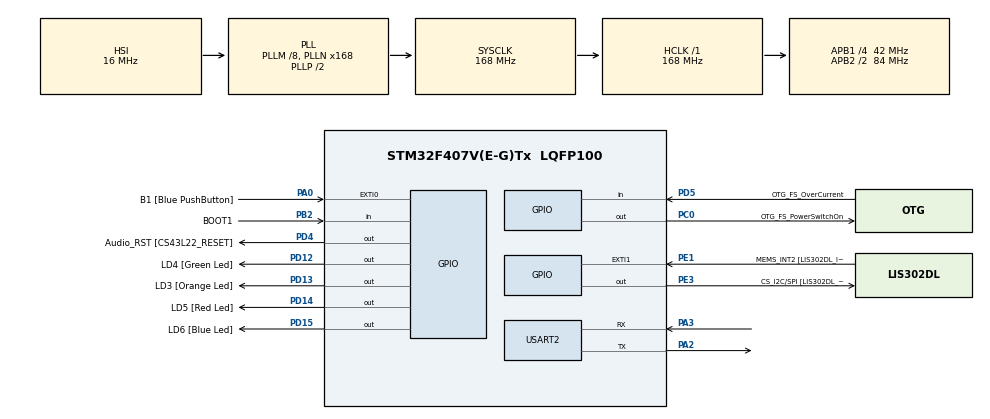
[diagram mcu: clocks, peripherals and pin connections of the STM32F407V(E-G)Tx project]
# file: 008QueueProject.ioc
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Mcu.Family=STM32F4
PA11.GPIO_Speed=GPIO_SPEED_FREQ_LOW
PC3.GPIO_Mode=GPIO_MODE_AF_PP
PD12.GPIO_Label=LD4 [Green Led]
PH0-OSC_IN.Signal=RCC_OSC_IN
VP_SYS_VS_tim6.Mode=TIM6
RCC.CortexFreq_Value=168000000
PC10.GPIO_PuPd=GPIO_NOPULL
PB10.GPIO_Speed=GPIO_SPEED_FREQ_LOW
PB6.GPIO_Mode=GPIO_MODE_AF_OD
PB10.GPIO_PuPd=GPIO_NOPULL
NVIC.TIM6_DAC_IRQn=true\:0\:0\:false\:false\:true\:false\:true
PA10.GPIO_PuPd=GPIO_NOPULL
PD15.GPIO_Speed=GPIO_SPEED_FREQ_LOW
PC10.Signal=I2S3_CK
PC12.Signal=I2S3_SD
PA14.GPIO_Label=SWCLK
PA7.GPIO_Mode=GPIO_MODE_AF_PP
PC0.GPIO_Label=OTG_FS_PowerSwitchOn
VP_RTC_VS_RTC_Activate.Mode=RTC_Enabled
PA6.GPIO_Label=SPI1_MISO [LIS302DL_SDO]
PB6.GPIO_Label=Audio_SCL [CS43L22_SCL]
PC10.GPIO_Speed=GPIO_SPEED_FREQ_LOW
PA11.GPIO_PuPd=GPIO_NOPULL
PC15-OSC32_OUT.GPIO_Label=PC15-OSC32_OUT
PC3.GPIO_Speed=GPIO_SPEED_FREQ_LOW
RCC.SYSCLKSource=RCC_SYSCLKSOURCE_PLLCLK
ProjectManager.StackSize=0x400
PA6.GPIO_Mode=GPIO_MODE_AF_PP
PD13.Signal=GPIO_Output
PD14.GPIO_Speed=GPIO_SPEED_FREQ_LOW
PA12.Signal=USB_OTG_FS_DP
RCC.HCLKFreq_Value=168000000
PD4.Signal=GPIO_Output
RCC.APB2TimFreq_Value=168000000
PB6.Signal=I2C1_SCL
PC7.Signal=I2S3_MCK
PC3.Signal=I2S2_SD
PE1.Signal=GPXTI1
RCC.AHBFreq_Value=168000000
PH0-OSC_IN.GPIO_Label=PH0-OSC_IN
PA9.GPIO_Mode=GPIO_MODE_INPUT
RCC.HSE_VALUE=8000000
PA4.GPIO_PuPd=GPIO_NOPULL
PB2.Signal=GPIO_Input
PA4.GPIO_Speed=GPIO_SPEED_FREQ_LOW
PA6.GPIO_PuPd=GPIO_NOPULL
PA5.GPIO_PuPd=GPIO_NOPULL
PA10.GPIO_Label=OTG_FS_ID
PC7.GPIO_Mode=GPIO_MODE_AF_PP
PD5.GPIO_Mode=GPIO_MODE_INPUT
PD14.GPIO_PuPd=GPIO_NOPULL
PB2.GPIO_PuPd=GPIO_NOPULL
PD13.GPIO_Label=LD3 [Orange Led]
Mcu.Package=LQFP100
PB9.Signal=I2C1_SDA
PA6.Signal=SPI1_MISO
NVIC.TimeBase=TIM6_DAC_IRQn
USART2.VirtualMode=VM_ASYNC
PD12.Signal=GPIO_Output
PD5.GPIO_Label=OTG_FS_OverCurrent
PD15.GPIO_PuPd=GPIO_NOPULL
NVIC.TimeBaseIP=TIM6
PA10.Signal=USB_OTG_FS_ID
PB9.GPIO_PuPd=GPIO_NOPULL
PA10.GPIO_Speed=GPIO_SPEED_FREQ_LOW
RCC.APB2CLKDivider=RCC_HCLK_DIV2
PB9.GPIO_Speed=GPIO_SPEED_FREQ_LOW
RCC.APB1TimFreq_Value=84000000
PC14-OSC32_IN.GPIO_Label=PC14-OSC32_IN
PC12.GPIO_PuPd=GPIO_NOPULL
PA6.GPIO_Speed=GPIO_SPEED_FREQ_LOW
PC0.GPIO_PuPd=GPIO_NOPULL
PA12.GPIO_PuPd=GPIO_NOPULL
PA4.GPIO_Label=I2S3_WS [CS43L22_LRCK]
PD15.Signal=GPIO_Output
PC0.PinState=GPIO_PIN_SET
PA12.GPIO_Speed=GPIO_SPEED_FREQ_LOW
PA3.Signal=USART2_RX
PB3.GPIO_Label=SWO
PD12.GPIO_Speed=GPIO_SPEED_FREQ_LOW
PD15.GPIO_Label=LD6 [Blue Led]
PB9.GPIO_Label=Audio_SDA [CS43L22_SDA]
PC10.GPIO_Label=I2S3_SCK [CS43L22_SCLK]
PA9.GPIO_Label=VBUS_FS
PB6.GPIO_PuPd=GPIO_NOPULL
PA11.GPIO_Label=OTG_FS_DM
PE1.GPIO_PuPd=GPIO_NOPULL
PD5.Signal=GPIO_Input
PC0.Signal=GPIO_Output
PE1.GPIO_ModeDefaultEXTI=GPIO_MODE_EVT_RISING
RCC.APB1CLKDivider=RCC_HCLK_DIV4
PC14-OSC32_IN.Signal=RCC_OSC32_IN
PA9.GPIO_PuPd=GPIO_NOPULL
NVIC.USART2_IRQn=true\:6\:0\:true\:false\:true\:true\:true
PA12.GPIO_Label=OTG_FS_DP
PA0-WKUP.GPIO_Label=B1 [Blue PushButton]
PA0-WKUP.Signal=GPXTI0
PA10.GPIO_Mode=GPIO_MODE_AF_PP
PA3.Mode=Asynchronous
PA13.Signal=SYS_JTMS-SWDIO
PC10.GPIO_Mode=GPIO_MODE_AF_PP
PD4.GPIO_PuPd=GPIO_NOPULL
PC0.GPIO_Speed=GPIO_SPEED_FREQ_LOW
PB10.GPIO_Mode=GPIO_MODE_AF_PP
ProjectManager.TargetToolchain=STM32CubeIDE
PB10.GPIO_Label=CLK_IN [MP45DT02_CLK]
PA9.Signal=USB_OTG_FS_VBUS
PC7.GPIO_PuPd=GPIO_NOPULL
RCC.LSE_VALUE=32768
PC15-OSC32_OUT.Signal=RCC_OSC32_OUT
PA7.GPIO_PuPd=GPIO_NOPULL
PB10.Signal=I2S2_CK
PA5.Signal=SPI1_SCK
board=STM32F407G-DISC1
PD13.GPIO_Speed=GPIO_SPEED_FREQ_LOW
PC7.GPIO_Speed=GPIO_SPEED_FREQ_LOW
RCC.VCOOutputFreq_Value=336000000
PE1.GPIO_Label=MEMS_INT2 [LIS302DL_INT2]
PA7.GPIO_Speed=GPIO_SPEED_FREQ_LOW
PB9.GPIO_Mode=GPIO_MODE_AF_OD
PA12.GPIO_Mode=GPIO_MODE_AF_PP
PA4.GPIO_Mode=GPIO_MODE_AF_PP
RCC.APB2Freq_Value=84000000
PB2.GPIO_Mode=GPIO_MODE_INPUT
PD4.GPIO_Label=Audio_RST [CS43L22_RESET]
PD4.GPIO_Speed=GPIO_SPEED_FREQ_LOW
PE3.GPIO_PuPd=GPIO_NOPULL
PH1-OSC_OUT.Signal=RCC_OSC_OUT
PD13.GPIO_PuPd=GPIO_NOPULL
PD5.GPIO_PuPd=GPIO_NOPULL
PD14.GPIO_Label=LD5 [Red Led]
PH1-OSC_OUT.GPIO_Label=PH1-OSC_OUT
Mcu.Name=STM32F407V(E-G)Tx
PA2.Signal=USART2_TX
PA13.GPIO_Label=SWDIO
PC7.GPIO_Label=I2S3_MCK [CS43L22_MCLK]
PD14.Signal=GPIO_Output
RCC.48MHZClocksFreq_Value=48000000
PB3.Signal=SYS_JTDO-SWO
PA4.Signal=I2S3_WS
RCC.SYSCLKFreq_VALUE=168000000
PC12.GPIO_Mode=GPIO_MODE_AF_PP
PA7.GPIO_Label=SPI1_MOSI [LIS302DL_SDA/SDI/SDO]
PA5.GPIO_Label=SPI1_SCK [LIS302DL_SCL/SPC]
PE3.GPIO_Speed=GPIO_SPEED_FREQ_LOW
PC12.GPIO_Label=I2S3_SD [CS43L22_SDIN]
PA11.Signal=USB_OTG_FS_DM
PA14.Signal=SYS_JTCK-SWCLK
PB2.GPIO_Label=BOOT1
RTC.HourFormat=RTC_HOURFORMAT_12
ProjectManager.HeapSize=0x200
RCC.HSI_VALUE=16000000
PA5.GPIO_Speed=GPIO_SPEED_FREQ_LOW
RCC.PLLQ=7
NVIC.PriorityGroup=NVIC_PRIORITYGROUP_4
RCC.PLLM=8
RCC.PLLN=168
PE3.Signal=GPIO_Output
PA2.Mode=Asynchronous
PE3.GPIO_Label=CS_I2C/SPI [LIS302DL_CS_I2C/SPI]
PC3.GPIO_Label=PDM_OUT [MP45DT02_DOUT]
PA11.GPIO_Mode=GPIO_MODE_AF_PP
PB6.GPIO_Speed=GPIO_SPEED_FREQ_LOW
RCC.APB1Freq_Value=42000000
PA5.GPIO_Mode=GPIO_MODE_AF_PP
PC12.GPIO_Speed=GPIO_SPEED_FREQ_LOW
PC3.GPIO_PuPd=GPIO_NOPULL
PD12.GPIO_PuPd=GPIO_NOPULL
PA7.Signal=SPI1_MOSI

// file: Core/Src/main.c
/* USER CODE BEGIN Header */
/**
  ******************************************************************************
  * @file           : main.c
  * @brief          : Main program body
  ******************************************************************************
  * @attention
  *
  * <h2><center>&copy; Copyright (c) 2021 STMicroelectronics.
  * All rights reserved.</center></h2>
  *
  * This software component is licensed by ST under BSD 3-Clause license,
  * the "License"; You may not use this file except in compliance with the
  * License. You may obtain a copy of the License at:
  *                        opensource.org/licenses/BSD-3-Clause
  *
  ******************************************************************************
  */
/* USER CODE END Header */
#include "main.h"

RTC_HandleTypeDef hrtc;

UART_HandleTypeDef huart2;

/* USER CODE BEGIN PV */
TaskHandle_t handle_menu_task, handle_cmd_task, handle_print_task, handle_led_task, handle_rtc_task;
QueueHandle_t q_data;
QueueHandle_t q_print;
state_t curr_state = sMainMenu;
volatile uint8_t user_data;
TimerHandle_t handle_led_timer[4];
/* USER CODE END PV */

void SystemClock_Config(void);
static void MX_GPIO_Init(void);
static void MX_USART2_UART_Init(void);
static void MX_RTC_Init(void);

/* USER CODE BEGIN PFP */
void led_effect_callback(TimerHandle_t xTimer);
/* USER CODE END PFP */

int main(void)
{
  /* USER CODE BEGIN 1 */

  BaseType_t status;   // To store the status return from the xTaskCreate

  /* USER CODE END 1 */

  /* MCU Configuration--------------------------------------------------------*/

  /* Reset of all peripherals, Initializes the Flash interface and the Systick. */
  HAL_Init();

  /* Configure the system clock */
  SystemClock_Config();

  /* Initialize all configured peripherals */
  MX_GPIO_Init();
  MX_USART2_UART_Init();
  MX_RTC_Init();
  /* USER CODE BEGIN 2 */

  // Creating tasks
  status = xTaskCreate(&menu_task, "menu_task", 250, NULL, 2, &handle_menu_task);
  configASSERT(status == pdPASS);

  status = xTaskCreate(&cmd_handler_task, "cmd_task", 250, NULL, 2, &handle_cmd_task);
  configASSERT(status == pdPASS);

  status = xTaskCreate(&print_task, "print_task", 250, NULL, 2, &handle_print_task);
  configASSERT(status == pdPASS);

  status = xTaskCreate(&led_task, "led_task", 250, NULL, 2, &handle_led_task);
  configASSERT(status == pdPASS);

  status = xTaskCreate(&rtc_task, "rtc_task", 250, NULL, 2, &handle_rtc_task);
  configASSERT(status == pdPASS);

  // Create the queue
  q_data = xQueueCreate(10, sizeof(char));
  configASSERT(q_data != NULL);

  q_print = xQueueCreate(10, sizeof(size_t));
  configASSERT(q_print != NULL);

  // Create software timers for LED effects

  for(int i=0; i<4; i++)
	  handle_led_timer[i] = xTimerCreate("led_timer", pdMS_TO_TICKS(500), pdTRUE, (void *)(i+1), led_effect_callback);

  // Trigger UART reception

  HAL_UART_Receive_IT(&huart2, (uint8_t *)&user_data, 1);

  // Start scheduler

  vTaskStartScheduler();

  /* USER CODE END 2 */

  /* Infinite loop */
  while (1)
  {

  }
}

void SystemClock_Config(void)
{
  RCC_OscInitTypeDef RCC_OscInitStruct = {0};
  RCC_ClkInitTypeDef RCC_ClkInitStruct = {0};
  RCC_PeriphCLKInitTypeDef PeriphClkInitStruct = {0};

  /** Configure the main internal regulator output voltage
  */
  __HAL_RCC_PWR_CLK_ENABLE();
  __HAL_PWR_VOLTAGESCALING_CONFIG(PWR_REGULATOR_VOLTAGE_SCALE1);
  /** Initializes the RCC Oscillators according to the specified parameters
  * in the RCC_OscInitTypeDef structure.
  */
  RCC_OscInitStruct.OscillatorType = RCC_OSCILLATORTYPE_HSI|RCC_OSCILLATORTYPE_LSI;
  RCC_OscInitStruct.HSIState = RCC_HSI_ON;
  RCC_OscInitStruct.HSICalibrationValue = RCC_HSICALIBRATION_DEFAULT;
  RCC_OscInitStruct.LSIState = RCC_LSI_ON;
  RCC_OscInitStruct.PLL.PLLState = RCC_PLL_ON;
  RCC_OscInitStruct.PLL.PLLSource = RCC_PLLSOURCE_HSI;
  RCC_OscInitStruct.PLL.PLLM = 8;
  RCC_OscInitStruct.PLL.PLLN = 168;
  RCC_OscInitStruct.PLL.PLLP = RCC_PLLP_DIV2;
  RCC_OscInitStruct.PLL.PLLQ = 7;
  if (HAL_RCC_OscConfig(&RCC_OscInitStruct) != HAL_OK)
  {
    Error_Handler();
  }
  /** Initializes the CPU, AHB and APB buses clocks
  */
  RCC_ClkInitStruct.ClockType = RCC_CLOCKTYPE_HCLK|RCC_CLOCKTYPE_SYSCLK
                              |RCC_CLOCKTYPE_PCLK1|RCC_CLOCKTYPE_PCLK2;
  RCC_ClkInitStruct.SYSCLKSource = RCC_SYSCLKSOURCE_PLLCLK;
  RCC_ClkInitStruct.AHBCLKDivider = RCC_SYSCLK_DIV1;
  RCC_ClkInitStruct.APB1CLKDivider = RCC_HCLK_DIV4;
  RCC_ClkInitStruct.APB2CLKDivider = RCC_HCLK_DIV2;

  if (HAL_RCC_ClockConfig(&RCC_ClkInitStruct, FLASH_LATENCY_5) != HAL_OK)
  {
    Error_Handler();
  }
  PeriphClkInitStruct.PeriphClockSelection = RCC_PERIPHCLK_RTC;
  PeriphClkInitStruct.RTCClockSelection = RCC_RTCCLKSOURCE_LSI;
  if (HAL_RCCEx_PeriphCLKConfig(&PeriphClkInitStruct) != HAL_OK)
  {
    Error_Handler();
  }
}

static void MX_RTC_Init(void)
{

  /** Initialize RTC Only
  */
  hrtc.Instance = RTC;
  hrtc.Init.HourFormat = RTC_HOURFORMAT_12;
  hrtc.Init.AsynchPrediv = 127;
  hrtc.Init.SynchPrediv = 255;
  hrtc.Init.OutPut = RTC_OUTPUT_DISABLE;
  hrtc.Init.OutPutPolarity = RTC_OUTPUT_POLARITY_HIGH;
  hrtc.Init.OutPutType = RTC_OUTPUT_TYPE_OPENDRAIN;
  if (HAL_RTC_Init(&hrtc) != HAL_OK)
  {
    Error_Handler();
  }

}

static void MX_USART2_UART_Init(void)
{

  huart2.Instance = USART2;
  huart2.Init.BaudRate = 115200;
  huart2.Init.WordLength = UART_WORDLENGTH_8B;
  huart2.Init.StopBits = UART_STOPBITS_1;
  huart2.Init.Parity = UART_PARITY_NONE;
  huart2.Init.Mode = UART_MODE_TX_RX;
  huart2.Init.HwFlowCtl = UART_HWCONTROL_NONE;
  huart2.Init.OverSampling = UART_OVERSAMPLING_16;
  if (HAL_UART_Init(&huart2) != HAL_OK)
  {
    Error_Handler();
  }

}

static void MX_GPIO_Init(void)
{
  GPIO_InitTypeDef GPIO_InitStruct = {0};

  /* GPIO Ports Clock Enable */
  __HAL_RCC_GPIOE_CLK_ENABLE();
  __HAL_RCC_GPIOC_CLK_ENABLE();
  __HAL_RCC_GPIOH_CLK_ENABLE();
  __HAL_RCC_GPIOA_CLK_ENABLE();
  __HAL_RCC_GPIOB_CLK_ENABLE();
  __HAL_RCC_GPIOD_CLK_ENABLE();

  /*Configure GPIO pin Output Level */
  HAL_GPIO_WritePin(CS_I2C_SPI_GPIO_Port, CS_I2C_SPI_Pin, GPIO_PIN_RESET);

  /*Configure GPIO pin Output Level */
  HAL_GPIO_WritePin(OTG_FS_PowerSwitchOn_GPIO_Port, OTG_FS_PowerSwitchOn_Pin, GPIO_PIN_SET);

  /*Configure GPIO pin Output Level */
  HAL_GPIO_WritePin(GPIOD, LD4_Pin|LD3_Pin|LD5_Pin|LD6_Pin
                          |Audio_RST_Pin, GPIO_PIN_RESET);

  /*Configure GPIO pin : CS_I2C_SPI_Pin */
  GPIO_InitStruct.Pin = CS_I2C_SPI_Pin;
  GPIO_InitStruct.Mode = GPIO_MODE_OUTPUT_PP;
  GPIO_InitStruct.Pull = GPIO_NOPULL;
  GPIO_InitStruct.Speed = GPIO_SPEED_FREQ_LOW;
  HAL_GPIO_Init(CS_I2C_SPI_GPIO_Port, &GPIO_InitStruct);

  /*Configure GPIO pin : OTG_FS_PowerSwitchOn_Pin */
  GPIO_InitStruct.Pin = OTG_FS_PowerSwitchOn_Pin;
  GPIO_InitStruct.Mode = GPIO_MODE_OUTPUT_PP;
  GPIO_InitStruct.Pull = GPIO_NOPULL;
  GPIO_InitStruct.Speed = GPIO_SPEED_FREQ_LOW;
  HAL_GPIO_Init(OTG_FS_PowerSwitchOn_GPIO_Port, &GPIO_InitStruct);

  /*Configure GPIO pin : PDM_OUT_Pin */
  GPIO_InitStruct.Pin = PDM_OUT_Pin;
  GPIO_InitStruct.Mode = GPIO_MODE_AF_PP;
  GPIO_InitStruct.Pull = GPIO_NOPULL;
  GPIO_InitStruct.Speed = GPIO_SPEED_FREQ_LOW;
  GPIO_InitStruct.Alternate = GPIO_AF5_SPI2;
  HAL_GPIO_Init(PDM_OUT_GPIO_Port, &GPIO_InitStruct);

  /*Configure GPIO pin : B1_Pin */
  GPIO_InitStruct.Pin = B1_Pin;
  GPIO_InitStruct.Mode = GPIO_MODE_IT_RISING;
  GPIO_InitStruct.Pull = GPIO_NOPULL;
  HAL_GPIO_Init(B1_GPIO_Port, &GPIO_InitStruct);

  /*Configure GPIO pin : I2S3_WS_Pin */
  GPIO_InitStruct.Pin = I2S3_WS_Pin;
  GPIO_InitStruct.Mode = GPIO_MODE_AF_PP;
  GPIO_InitStruct.Pull = GPIO_NOPULL;
  GPIO_InitStruct.Speed = GPIO_SPEED_FREQ_LOW;
  GPIO_InitStruct.Alternate = GPIO_AF6_SPI3;
  HAL_GPIO_Init(I2S3_WS_GPIO_Port, &GPIO_InitStruct);

  /*Configure GPIO pins : SPI1_SCK_Pin SPI1_MISO_Pin SPI1_MOSI_Pin */
  GPIO_InitStruct.Pin = SPI1_SCK_Pin|SPI1_MISO_Pin|SPI1_MOSI_Pin;
  GPIO_InitStruct.Mode = GPIO_MODE_AF_PP;
  GPIO_InitStruct.Pull = GPIO_NOPULL;
  GPIO_InitStruct.Speed = GPIO_SPEED_FREQ_LOW;
  GPIO_InitStruct.Alternate = GPIO_AF5_SPI1;
  HAL_GPIO_Init(GPIOA, &GPIO_InitStruct);

  /*Configure GPIO pin : BOOT1_Pin */
  GPIO_InitStruct.Pin = BOOT1_Pin;
  GPIO_InitStruct.Mode = GPIO_MODE_INPUT;
  GPIO_InitStruct.Pull = GPIO_NOPULL;
  HAL_GPIO_Init(BOOT1_GPIO_Port, &GPIO_InitStruct);

  /*Configure GPIO pin : CLK_IN_Pin */
  GPIO_InitStruct.Pin = CLK_IN_Pin;
  GPIO_InitStruct.Mode = GPIO_MODE_AF_PP;
  GPIO_InitStruct.Pull = GPIO_NOPULL;
  GPIO_InitStruct.Speed = GPIO_SPEED_FREQ_LOW;
  GPIO_InitStruct.Alternate = GPIO_AF5_SPI2;
  HAL_GPIO_Init(CLK_IN_GPIO_Port, &GPIO_InitStruct);

  /*Configure GPIO pins : LD4_Pin LD3_Pin LD5_Pin LD6_Pin
                           Audio_RST_Pin */
  GPIO_InitStruct.Pin = LD4_Pin|LD3_Pin|LD5_Pin|LD6_Pin
                          |Audio_RST_Pin;
  GPIO_InitStruct.Mode = GPIO_MODE_OUTPUT_PP;
  GPIO_InitStruct.Pull = GPIO_NOPULL;
  GPIO_InitStruct.Speed = GPIO_SPEED_FREQ_LOW;
  HAL_GPIO_Init(GPIOD, &GPIO_InitStruct);

  /*Configure GPIO pins : I2S3_MCK_Pin I2S3_SCK_Pin I2S3_SD_Pin */
  GPIO_InitStruct.Pin = I2S3_MCK_Pin|I2S3_SCK_Pin|I2S3_SD_Pin;
  GPIO_InitStruct.Mode = GPIO_MODE_AF_PP;
  GPIO_InitStruct.Pull = GPIO_NOPULL;
  GPIO_InitStruct.Speed = GPIO_SPEED_FREQ_LOW;
  GPIO_InitStruct.Alternate = GPIO_AF6_SPI3;
  HAL_GPIO_Init(GPIOC, &GPIO_InitStruct);

  /*Configure GPIO pin : VBUS_FS_Pin */
  GPIO_InitStruct.Pin = VBUS_FS_Pin;
  GPIO_InitStruct.Mode = GPIO_MODE_INPUT;
  GPIO_InitStruct.Pull = GPIO_NOPULL;
  HAL_GPIO_Init(VBUS_FS_GPIO_Port, &GPIO_InitStruct);

  /*Configure GPIO pins : OTG_FS_ID_Pin OTG_FS_DM_Pin OTG_FS_DP_Pin */
  GPIO_InitStruct.Pin = OTG_FS_ID_Pin|OTG_FS_DM_Pin|OTG_FS_DP_Pin;
  GPIO_InitStruct.Mode = GPIO_MODE_AF_PP;
  GPIO_InitStruct.Pull = GPIO_NOPULL;
  GPIO_InitStruct.Speed = GPIO_SPEED_FREQ_LOW;
  GPIO_InitStruct.Alternate = GPIO_AF10_OTG_FS;
  HAL_GPIO_Init(GPIOA, &GPIO_InitStruct);

  /*Configure GPIO pin : OTG_FS_OverCurrent_Pin */
  GPIO_InitStruct.Pin = OTG_FS_OverCurrent_Pin;
  GPIO_InitStruct.Mode = GPIO_MODE_INPUT;
  GPIO_InitStruct.Pull = GPIO_NOPULL;
  HAL_GPIO_Init(OTG_FS_OverCurrent_GPIO_Port, &GPIO_InitStruct);

  /*Configure GPIO pins : Audio_SCL_Pin Audio_SDA_Pin */
  GPIO_InitStruct.Pin = Audio_SCL_Pin|Audio_SDA_Pin;
  GPIO_InitStruct.Mode = GPIO_MODE_AF_OD;
  GPIO_InitStruct.Pull = GPIO_PULLUP;
  GPIO_InitStruct.Speed = GPIO_SPEED_FREQ_LOW;
  GPIO_InitStruct.Alternate = GPIO_AF4_I2C1;
  HAL_GPIO_Init(GPIOB, &GPIO_InitStruct);

  /*Configure GPIO pin : MEMS_INT2_Pin */
  GPIO_InitStruct.Pin = MEMS_INT2_Pin;
  GPIO_InitStruct.Mode = GPIO_MODE_EVT_RISING;
  GPIO_InitStruct.Pull = GPIO_NOPULL;
  HAL_GPIO_Init(MEMS_INT2_GPIO_Port, &GPIO_InitStruct);

}

/* USER CODE BEGIN 4 */

void led_effect_callback(TimerHandle_t xTimer){

	int id;
	id = (uint32_t) pvTimerGetTimerID(xTimer);

	switch(id){
		case 1:
			LED_effect1();
			break;
		case 2:
			LED_effect2();
			break;
		case 3:
			LED_effect3();
			break;
		case 4:
			LED_effect4();
			break;
	}

}

void HAL_UART_RxCpltCallback(UART_HandleTypeDef *huart)
{

	if(!xQueueIsQueueFullFromISR(q_data)) // check : is queue full ?
	{
		/* Queue is not full */
		/* Enqueue data byte */
		xQueueSendFromISR(q_data, (void *)&user_data, NULL);

	}else{
		/* Queue is full */

		if(user_data == '\n') // check, is user_data '\n'?
		{
			/*user_data = '\n' */
			/*make sure that last data byte of the queue is '\n' */
			uint8_t dummy;
			xQueueReceiveFromISR(q_data, (void *)&dummy, NULL);
			xQueueSendFromISR(q_data, (void *)&user_data, NULL);
		}
	}

	/* send notification to command handling task if user_data = '\n' */
	if(user_data == '\n'){
		/* send notification to command handling task */
		xTaskNotifyFromISR(handle_cmd_task, 0, eNoAction, NULL);
	}

	/* Enable UART data byte reception again in IT mode */
	HAL_UART_Receive_IT(&huart2, (uint8_t *)&user_data, 1);

}

/* USER CODE END 4 */

 /**
  * @brief  Period elapsed callback in non blocking mode
  * @note   This function is called  when TIM6 interrupt took place, inside
  * HAL_TIM_IRQHandler(). It makes a direct call to HAL_IncTick() to increment
  * a global variable "uwTick" used as application time base.
  * @param  htim : TIM handle
  * @retval None
  */
void HAL_TIM_PeriodElapsedCallback(TIM_HandleTypeDef *htim)
{
  if (htim->Instance == TIM6) {
    HAL_IncTick();
  }
}

void Error_Handler(void)
{
  __disable_irq();
  while (1)
  {
  }
}

/************************ (C) COPYRIGHT STMicroelectronics *****END OF FILE****/
